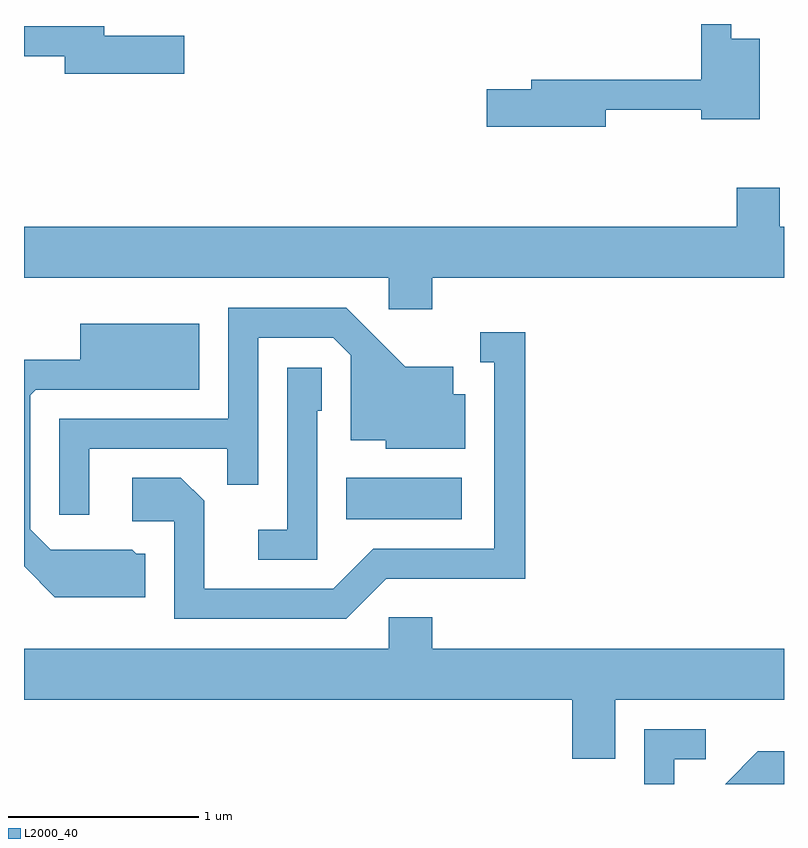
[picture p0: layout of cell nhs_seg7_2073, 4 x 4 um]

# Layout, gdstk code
import gdstk
lib = gdstk.Library(unit=1e-6, precision=1e-09)
def R(c, l, rs):  # rectangles x0, y0, x1, y1
    for r in rs: c.add(gdstk.rectangle(r[:2], r[2:], *l))
def P(c, l, *ps):  # polygons
    for p in ps: c.add(gdstk.Polygon(p, *l))
L2000_40 = (2000, 40)

nhs_seg7_2073 = lib.new_cell('nhs_seg7_2073')
R(nhs_seg7_2073, L2000_40, [(249.306,1779.646,249.914,1779.864)])
P(nhs_seg7_2073, L2000_40, [(250.674,1781.801),(251.176,1781.801),(251.176,1781.751),(251.484,1781.751),(251.484,1782.174),(251.334,1782.174),(251.334,1782.252),(251.176,1782.252),(251.176,1781.959),(250.281,1781.959),(250.281,1781.909),(250.046,1781.909),(250.046,1781.711),(250.674,1781.711)],
  [(248.454,1782.189),(248.034,1782.189),(248.034,1782.239),(247.611,1782.239),(247.611,1782.081),(247.826,1782.081),(247.826,1781.991),(248.454,1781.991)],
  [(247.611,1780.916),(249.531,1780.916),(249.531,1780.751),(249.759,1780.751),(249.759,1780.916),(251.611,1780.916),(251.611,1781.184),(251.589,1781.184),(251.589,1781.389),(251.361,1781.389),(251.361,1781.184),(247.611,1781.184)],
  [(247.954,1780.016),(248.681,1780.016),(248.681,1779.828),(248.844,1779.828),(248.844,1780.601),(249.239,1780.601),(249.331,1780.509),(249.331,1780.061),(249.516,1780.061),(249.516,1780.016),(249.934,1780.016),(249.934,1780.304),(249.869,1780.304),(249.869,1780.449),(249.617,1780.449),(249.307,1780.759),(248.686,1780.759),(248.686,1780.174),(247.796,1780.174),(247.796,1779.668),(247.954,1779.668)],
  [(248.249,1779.464),(248.202,1779.464),(248.182,1779.484),(247.752,1779.484),(247.644,1779.592),(247.644,1780.299),(247.672,1780.326),(248.534,1780.326),(248.534,1780.674),(247.906,1780.674),(247.906,1780.484),(247.611,1780.484),(247.611,1779.399),(247.774,1779.236),(248.249,1779.236)],
  [(249.517,1779.331),(250.249,1779.331),(250.249,1780.629),(250.013,1780.629),(250.013,1780.471),(250.086,1780.471),(250.086,1779.489),(249.449,1779.489),(249.239,1779.279),(248.559,1779.279),(248.559,1779.742),(248.437,1779.864),(248.181,1779.864),(248.181,1779.636),(248.401,1779.636),(248.401,1779.121),(249.307,1779.121)],
  [(249.154,1780.216),(249.179,1780.216),(249.179,1780.444),(248.996,1780.444),(248.996,1779.589),(248.843,1779.589),(248.843,1779.431),(249.154,1779.431)],
  [(250.724,1778.696),(251.611,1778.696),(251.611,1778.964),(249.759,1778.964),(249.759,1779.129),(249.531,1779.129),(249.531,1778.964),(247.611,1778.964),(247.611,1778.696),(250.496,1778.696),(250.496,1778.386),(250.724,1778.386)],
  [(251.034,1778.381),(251.198,1778.381),(251.198,1778.539),(250.876,1778.539),(250.876,1778.252),(251.034,1778.252)],
  [(251.611,1778.424),(251.474,1778.424),(251.301,1778.252),(251.611,1778.252)])

lib.write_gds('nhs_seg7_2073.gds')
